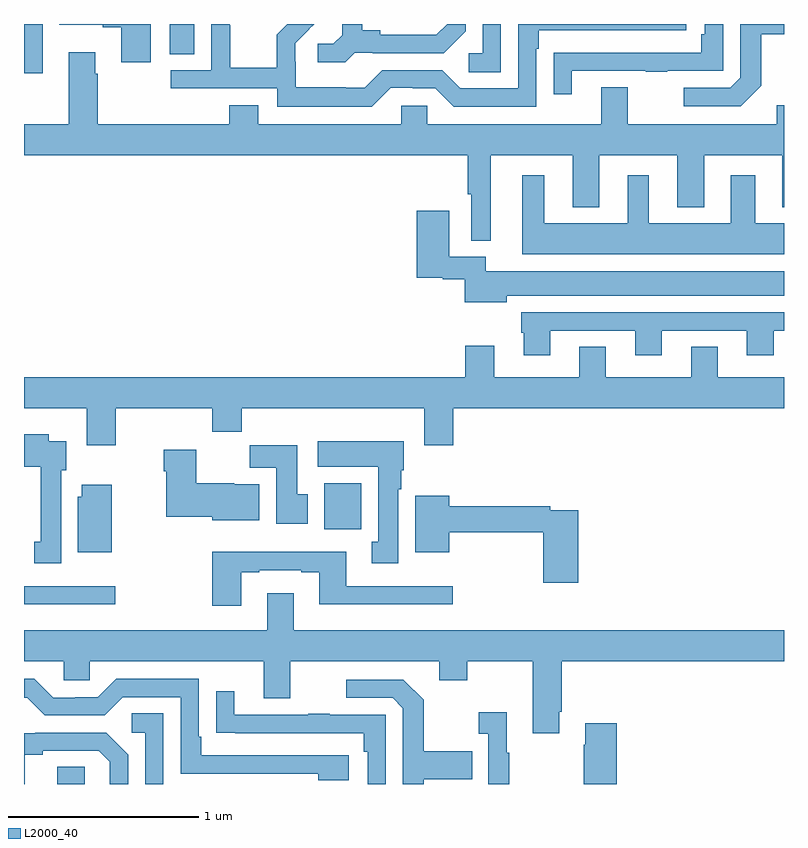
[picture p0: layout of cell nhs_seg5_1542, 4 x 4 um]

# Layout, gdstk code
import gdstk
lib = gdstk.Library(unit=1e-6, precision=1e-09)
def R(c, l, rs):  # rectangles x0, y0, x1, y1
    for r in rs: c.add(gdstk.rectangle(r[:2], r[2:], *l))
def P(c, l, *ps):  # polygons
    for p in ps: c.add(gdstk.Polygon(p, *l))
L2000_40 = (2000, 40)

nhs_seg5_1542 = lib.new_cell('nhs_seg5_1542')
R(nhs_seg5_1542, L2000_40, [(205.175,838.799,205.32,838.889), (205,839.744,205.48,839.841), (206.579,840.14,206.776,840.382), (205.766,842.641,205.897,842.799)])
P(nhs_seg5_1542, L2000_40, [(207.51,842.799),(207.414,842.799),(207.414,842.646),(207.342,842.646),(207.342,842.545),(207.51,842.545)],
  [(206.931,842.463),(207.047,842.463),(207.047,842.46),(207.165,842.46),(207.261,842.364),(207.696,842.364),(207.696,842.669),(207.709,842.669),(207.709,842.766),(208.486,842.766),(208.486,842.799),(207.6,842.799),(207.6,842.46),(207.297,842.46),(207.201,842.556),(206.886,842.556),(206.793,842.463),(206.693,842.463),(206.693,842.467),(206.43,842.467),(206.43,842.601),(206.428,842.601),(206.428,842.698),(206.502,842.772),(206.501,842.773),(206.527,842.799),(206.385,842.799),(206.329,842.743),(206.329,842.569),(206.085,842.569),(206.085,842.792),(206.082,842.792),(206.082,842.799),(205.986,842.799),(205.986,842.556),(205.773,842.556),(205.773,842.46),(206.334,842.46),(206.334,842.363),(206.831,842.363)],
  [(205.098,842.799),(205.002,842.799),(205.002,842.654),(205,842.654),(205,842.541),(205.098,842.541)],
  [(208.879,842.473),(208.879,842.746),(209,842.746),(209,842.799),(208.77,842.799),(208.77,842.517),(208.716,842.463),(208.473,842.463),(208.473,842.367),(208.773,842.367)],
  [(205.666,842.799),(205.185,842.799),(205.185,842.795),(205.415,842.795),(205.415,842.783),(205.511,842.783),(205.511,842.598),(205.666,842.598)],
  [(206.742,842.649),(206.836,842.649),(206.836,842.646),(207.208,842.646),(207.324,842.762),(207.324,842.799),(207.227,842.799),(207.17,842.742),(206.875,842.742),(206.875,842.765),(206.779,842.765),(206.779,842.799),(206.675,842.799),(206.675,842.741),(206.628,842.694),(206.547,842.694),(206.547,842.597),(206.69,842.597)],
  [(207.883,842.553),(208.273,842.553),(208.273,842.548),(208.385,842.548),(208.385,842.553),(208.68,842.553),(208.68,842.799),(208.584,842.799),(208.584,842.746),(208.564,842.746),(208.564,842.649),(207.889,842.649),(207.889,842.648),(207.787,842.648),(207.787,842.43),(207.883,842.43)],
  [(207.457,842.108),(207.887,842.108),(207.887,841.835),(208.027,841.835),(208.027,842.108),(208.439,842.108),(208.439,841.835),(208.579,841.835),(208.579,842.108),(208.991,842.108),(208.991,841.835),(209,841.835),(209,842.371),(208.961,842.371),(208.961,842.272),(208.177,842.272),(208.177,842.467),(208.037,842.467),(208.037,842.272),(207.123,842.272),(207.123,842.37),(206.985,842.37),(206.985,842.272),(206.233,842.272),(206.233,842.371),(206.081,842.371),(206.081,842.272),(205.388,842.272),(205.388,842.537),(205.375,842.537),(205.375,842.65),(205.235,842.65),(205.235,842.272),(205,842.272),(205,842.108),(207.336,842.108),(207.336,841.903),(207.353,841.903),(207.353,841.659),(207.457,841.659)],
  [(209,841.75),(208.849,841.75),(208.849,842.002),(208.721,842.002),(208.721,841.75),(208.288,841.75),(208.288,842.002),(208.178,842.002),(208.178,841.75),(207.739,841.75),(207.739,842.002),(207.623,842.002),(207.623,841.586),(209,841.586)],
  [(207.541,841.37),(209,841.37),(209,841.498),(207.43,841.498),(207.43,841.573),(207.238,841.573),(207.238,841.816),(207.068,841.816),(207.068,841.463),(207.204,841.463),(207.204,841.456),(207.32,841.456),(207.32,841.334),(207.541,841.334)],
  [(207.769,841.185),(208.217,841.185),(208.217,841.056),(208.357,841.056),(208.357,841.185),(208.805,841.185),(208.805,841.056),(208.945,841.056),(208.945,841.185),(209,841.185),(209,841.281),(207.617,841.281),(207.617,841.173),(207.629,841.173),(207.629,841.056),(207.769,841.056)],
  [(205.484,840.776),(205.991,840.776),(205.991,840.652),(206.147,840.652),(206.147,840.776),(207.107,840.776),(207.107,840.582),(207.26,840.582),(207.26,840.776),(209,840.776),(209,840.94),(208.651,840.94),(208.651,841.1),(208.511,841.1),(208.511,840.94),(208.063,840.94),(208.063,841.1),(207.923,841.1),(207.923,840.94),(207.475,840.94),(207.475,841.105),(207.323,841.105),(207.323,840.94),(205,840.94),(205,840.776),(205.331,840.776),(205.331,840.582),(205.484,840.582)],
  [(205.195,840.45),(205.222,840.45),(205.222,840.604),(205.129,840.604),(205.129,840.64),(205,840.64),(205,840.47),(205.088,840.47),(205.088,840.074),(205.055,840.074),(205.055,839.961),(205.195,839.961)],
  [(206.971,840.35),(206.986,840.35),(206.986,840.45),(206.998,840.45),(206.998,840.604),(206.547,840.604),(206.547,840.47),(206.864,840.47),(206.864,840.074),(206.831,840.074),(206.831,839.961),(206.971,839.961)],
  [(206.494,840.324),(206.437,840.324),(206.437,840.583),(206.188,840.583),(206.188,840.464),(206.327,840.464),(206.327,840.168),(206.494,840.168)],
  [(206.239,840.376),(206.106,840.376),(206.106,840.382),(205.906,840.382),(205.906,840.559),(205.736,840.559),(205.736,840.446),(205.748,840.446),(205.748,840.206),(205.992,840.206),(205.992,840.188),(206.239,840.188)],
  [(205.462,840.373),(205.304,840.373),(205.304,840.312),(205.283,840.312),(205.283,840.02),(205.462,840.02)],
  [(207.917,840.24),(207.77,840.24),(207.77,840.26),(207.238,840.26),(207.238,840.316),(207.059,840.316),(207.059,840.02),(207.238,840.02),(207.238,840.124),(207.734,840.124),(207.734,839.859),(207.917,839.859)],
  [(206.143,839.913),(206.239,839.913),(206.239,839.925),(206.459,839.925),(206.459,839.913),(206.555,839.913),(206.555,839.744),(207.256,839.744),(207.256,839.841),(206.695,839.841),(206.695,840.022),(205.991,840.022),(205.991,839.736),(206.143,839.736)],
  [(207.817,839.179),(207.83,839.179),(207.83,839.444),(209,839.444),(209,839.608),(206.419,839.608),(206.419,839.803),(206.279,839.803),(206.279,839.608),(205,839.608),(205,839.444),(205.209,839.444),(205.209,839.346),(205.347,839.346),(205.347,839.444),(206.261,839.444),(206.261,839.25),(206.401,839.25),(206.401,839.444),(207.185,839.444),(207.185,839.345),(207.333,839.345),(207.333,839.444),(207.677,839.444),(207.677,839.067),(207.817,839.067)],
  [(206.71,838.95),(205.933,838.95),(205.933,839.047),(205.92,839.047),(205.92,839.352),(205.485,839.352),(205.389,839.256),(205.271,839.256),(205.271,839.253),(205.155,839.253),(205.055,839.353),(205,839.353),(205,839.253),(205.017,839.253),(205.11,839.16),(205.425,839.16),(205.521,839.256),(205.824,839.256),(205.824,838.854),(206.549,838.854),(206.549,838.82),(206.71,838.82)],
  [(207.103,838.823),(207.359,838.823),(207.359,838.971),(207.103,838.971),(207.103,839.243),(206.997,839.349),(206.697,839.349),(206.697,839.253),(206.94,839.253),(206.994,839.199),(206.994,838.799),(207.103,838.799)],
  [(206.904,839.163),(206.609,839.163),(206.609,839.168),(206.497,839.168),(206.497,839.163),(206.107,839.163),(206.107,839.287),(206.011,839.287),(206.011,839.068),(206.113,839.068),(206.113,839.067),(206.788,839.067),(206.788,838.97),(206.808,838.97),(206.808,838.799),(206.904,838.799)],
  [(207.553,838.963),(207.541,838.963),(207.541,839.176),(207.393,839.176),(207.393,839.063),(207.444,839.063),(207.444,838.799),(207.553,838.799)],
  [(205.734,839.171),(205.566,839.171),(205.566,839.07),(205.638,839.07),(205.638,838.799),(205.734,838.799)],
  [(208.121,839.119),(207.953,839.119),(207.953,839.006),(207.946,839.006),(207.946,838.799),(208.121,838.799)],
  [(205.003,838.952),(205.099,838.952),(205.099,838.974),(205.394,838.974),(205.451,838.917),(205.451,838.799),(205.548,838.799),(205.548,838.954),(205.432,839.07),(205.06,839.07),(205.06,839.067),(205,839.067),(205,838.799),(205.003,838.799)])

lib.write_gds('nhs_seg5_1542.gds')
